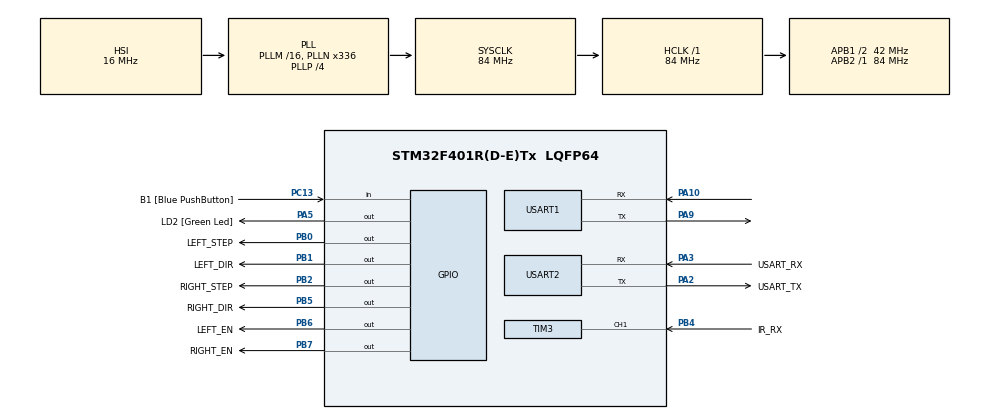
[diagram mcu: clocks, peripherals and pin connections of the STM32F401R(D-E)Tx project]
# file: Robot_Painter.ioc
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Mcu.Family=STM32F4
Mcu.Name=STM32F401R(D-E)Tx
Mcu.Package=LQFP64
NVIC.PriorityGroup=NVIC_PRIORITYGROUP_4
NVIC.TIM2_IRQn=true\:0\:0\:false\:false\:true\:true\:true\:true
NVIC.TIM3_IRQn=true\:6\:0\:false\:false\:true\:true\:true\:true
NVIC.TIM5_IRQn=true\:15\:0\:false\:false\:true\:true\:true\:true
NVIC.USART1_IRQn=true\:6\:0\:false\:false\:true\:true\:true\:true
NVIC.USART2_IRQn=true\:7\:0\:false\:false\:true\:true\:true\:true
PA10.GPIO_PuPd=GPIO_PULLUP
PA10.Mode=Asynchronous
PA10.Signal=USART1_RX
PA13.GPIO_Label=TMS
PA13.Mode=Trace_Asynchronous_SW
PA13.Signal=SYS_JTMS-SWDIO
PA14.GPIO_Label=TCK
PA14.Mode=Trace_Asynchronous_SW
PA14.Signal=SYS_JTCK-SWCLK
PA2.GPIO_Label=USART_TX
PA2.GPIO_Mode=GPIO_MODE_AF_PP
PA2.GPIO_PuPd=GPIO_NOPULL
PA2.GPIO_Speed=GPIO_SPEED_FREQ_LOW
PA2.Mode=Asynchronous
PA2.Signal=USART2_TX
PA3.GPIO_Label=USART_RX
PA3.GPIO_Mode=GPIO_MODE_AF_PP
PA3.GPIO_PuPd=GPIO_NOPULL
PA3.GPIO_Speed=GPIO_SPEED_FREQ_LOW
PA3.Mode=Asynchronous
PA3.Signal=USART2_RX
PA5.GPIO_Label=LD2 [Green Led]
PA5.GPIO_Mode=GPIO_MODE_OUTPUT_PP
PA5.GPIO_PuPd=GPIO_NOPULL
PA5.GPIO_Speed=GPIO_SPEED_FREQ_LOW
PA5.Signal=GPIO_Output
PA8.GPIO_Label=SIG_SERVO
PA8.Signal=S_TIM1_CH1
PA9.Mode=Asynchronous
PA9.Signal=USART1_TX
PB0.GPIO_Label=LEFT_STEP
PB0.GPIO_Mode=GPIO_MODE_OUTPUT_PP
PB0.GPIO_PuPd=GPIO_NOPULL
PB0.GPIO_Speed=GPIO_SPEED_FREQ_HIGH
PB0.Signal=GPIO_Output
PB1.GPIO_Label=LEFT_DIR
PB1.GPIO_Mode=GPIO_MODE_OUTPUT_PP
PB1.GPIO_PuPd=GPIO_NOPULL
PB1.GPIO_Speed=GPIO_SPEED_FREQ_HIGH
PB1.Signal=GPIO_Output
PB2.GPIO_Label=RIGHT_STEP
PB2.GPIO_Mode=GPIO_MODE_OUTPUT_PP
PB2.GPIO_PuPd=GPIO_NOPULL
PB2.GPIO_Speed=GPIO_SPEED_FREQ_HIGH
PB2.Signal=GPIO_Output
PB3.GPIO_Label=SWO
PB3.Mode=Trace_Asynchronous_SW
PB3.Signal=SYS_JTDO-SWO
PB4.GPIO_Label=IR_RX
PB4.GPIO_PuPd=GPIO_PULLUP
PB4.Signal=S_TIM3_CH1
PB5.GPIO_Label=RIGHT_DIR
PB5.GPIO_Mode=GPIO_MODE_OUTPUT_PP
PB5.GPIO_PuPd=GPIO_NOPULL
PB5.GPIO_Speed=GPIO_SPEED_FREQ_HIGH
PB5.Signal=GPIO_Output
PB6.GPIO_Label=LEFT_EN
PB6.GPIO_Mode=GPIO_MODE_OUTPUT_PP
PB6.GPIO_PuPd=GPIO_NOPULL
PB6.GPIO_Speed=GPIO_SPEED_FREQ_HIGH
PB6.PinState=GPIO_PIN_SET
PB6.Signal=GPIO_Output
PB7.GPIO_Label=RIGHT_EN
PB7.GPIO_Mode=GPIO_MODE_OUTPUT_PP
PB7.GPIO_PuPd=GPIO_NOPULL
PB7.GPIO_Speed=GPIO_SPEED_FREQ_HIGH
PB7.PinState=GPIO_PIN_SET
PB7.Signal=GPIO_Output
PC13-ANTI_TAMP.GPIO_Label=B1 [Blue PushButton]
PC13-ANTI_TAMP.GPIO_PuPd=GPIO_NOPULL
PC13-ANTI_TAMP.Signal=GPIO_Input
ProjectManager.HeapSize=0x200
ProjectManager.StackSize=0x400
ProjectManager.TargetToolchain=STM32CubeIDE
RCC.48MHZClocksFreq_Value=48000000
RCC.AHBFreq_Value=84000000
RCC.APB1CLKDivider=RCC_HCLK_DIV2
RCC.APB1Freq_Value=42000000
RCC.APB1TimFreq_Value=84000000
RCC.APB2Freq_Value=84000000
RCC.APB2TimFreq_Value=84000000
RCC.CortexFreq_Value=84000000
RCC.HCLKFreq_Value=84000000
RCC.HSE_VALUE=8000000
RCC.HSI_VALUE=16000000
RCC.PLLN=336
RCC.PLLP=RCC_PLLP_DIV4
RCC.PLLQ=7
RCC.SYSCLKFreq_VALUE=84000000
RCC.SYSCLKSource=RCC_SYSCLKSOURCE_PLLCLK
RCC.VCOOutputFreq_Value=336000000
SH.S_TIM3_CH1.0=TIM3_CH1,PWM_Input
TIM1.Channel-PWM\ Generation1\ CH1=TIM_CHANNEL_1
TIM1.Period=19999
TIM1.Prescaler=83
TIM2.Period=49
TIM2.Prescaler=83
TIM3.Period=65535
TIM3.Prescaler=83
USART1.VirtualMode=VM_ASYNC
USART2.VirtualMode=VM_ASYNC
VP_TIM1_VS_ClockSourceINT.Mode=Internal
VP_TIM2_VS_ClockSourceINT.Mode=Internal
VP_TIM3_VS_ClockSourceINT.Mode=Internal
VP_SYS_VS_tim5.Mode=TIM5
board=NUCLEO-F401RE

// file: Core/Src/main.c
/* USER CODE BEGIN Header */
/**
 ******************************************************************************
 * @file           : main.c
 * @brief          : Main program body
 ******************************************************************************
 * @attention
 *
 * Copyright (c) 2026 STMicroelectronics.
 * All rights reserved.
 *
 * This software is licensed under terms that can be found in the LICENSE file
 * in the root directory of this software component.
 * If no LICENSE file comes with this software, it is provided AS-IS.
 *
 ******************************************************************************
 */
/* USER CODE END Header */
#include "main.h"
#include "gpio.h"
#include "tim.h"
#include "usart.h"

/* USER CODE BEGIN Includes */
#include "FreeRTOS.h"
#include "app_rtos.h"
#include "motor.h"
#include "servo.h"
#include "task.h"
#include "uart_transport.h"
/* USER CODE END Includes */

void SystemClock_Config(void);
/* USER CODE BEGIN PFP */
static HAL_StatusTypeDef Robot_Init(void);
/* USER CODE END PFP */

/* USER CODE BEGIN 0 */
/**
 * @brief 모터, 노즐 및 정적 RTOS application을 안전한 순서로 초기화합니다.
 * @return 모든 모듈이 시작되면 HAL_OK, 하나라도 실패하면 해당 오류입니다.
 */
static HAL_StatusTypeDef Robot_Init(void) {
  HAL_StatusTypeDef status = Servo_Init();
  if (status != HAL_OK) {
    return status;
  }

  status = Motor_Init();
  if (status != HAL_OK) {
    return status;
  }

  status = AppRtos_Init(&huart1);
  if (status != HAL_OK) {
    return status;
  }

  static uint8_t boot_msg[] =
      "=== STM32 Paint Robot Binary Control Ready ===\r\n";
  (void)HAL_UART_Transmit(&huart2, boot_msg, sizeof(boot_msg) - 1U, 100U);
  return HAL_OK;
}
/* USER CODE END 0 */

int main(void) {

  /* MCU Configuration--------------------------------------------------------*/

  /* Reset of all peripherals, Initializes the Flash interface and the Systick.
   */
  HAL_Init();

  /* Configure the system clock */
  SystemClock_Config();

  /* Initialize all configured peripherals */
  MX_GPIO_Init();
  MX_USART2_UART_Init();
  MX_USART1_UART_Init();
  MX_TIM1_Init();
  MX_TIM2_Init();
  MX_TIM3_Init();
  /* USER CODE BEGIN 2 */
  /*
   * 초기화 순서가 중요합니다.
   * 1) GPIO가 먼저 EN=HIGH(드라이버 비활성) 안전 상태를 만듭니다.
   * 2) TIM1 서보 PWM을 OFF 위치에서 시작합니다.
   * 3) TIM2 20 kHz 모터 실시간 interrupt를 시작합니다.
   * 4) TIM3 IR PWM-input을 시작합니다.
   * 5) 정적 task/queue를 만든 뒤 scheduler에서 USART1 수신을 시작합니다.
   */
  /*
   * USART1(PA9 TX/PA10 RX): V-[HW] UART 바이너리 프레임, 115200-8-N-1
   * USART2(PA2 TX/PA3 RX): ST-Link Virtual COM 디버그 출력, 115200-8-N-1
   * TIM3_CH1(PB4): IR 수신기
   */
  if (Robot_Init() != HAL_OK) {
    Error_Handler();
  }
  vTaskStartScheduler();
  Error_Handler();
  /* USER CODE END 2 */

  /* Infinite loop */
  while (1) {

  }
}

void SystemClock_Config(void) {
  RCC_OscInitTypeDef RCC_OscInitStruct = {0};
  RCC_ClkInitTypeDef RCC_ClkInitStruct = {0};

  /** Configure the main internal regulator output voltage
   */
  __HAL_RCC_PWR_CLK_ENABLE();
  __HAL_PWR_VOLTAGESCALING_CONFIG(PWR_REGULATOR_VOLTAGE_SCALE2);

  /** Initializes the RCC Oscillators according to the specified parameters
   * in the RCC_OscInitTypeDef structure.
   */
  RCC_OscInitStruct.OscillatorType = RCC_OSCILLATORTYPE_HSI;
  RCC_OscInitStruct.HSIState = RCC_HSI_ON;
  RCC_OscInitStruct.HSICalibrationValue = RCC_HSICALIBRATION_DEFAULT;
  RCC_OscInitStruct.PLL.PLLState = RCC_PLL_ON;
  RCC_OscInitStruct.PLL.PLLSource = RCC_PLLSOURCE_HSI;
  RCC_OscInitStruct.PLL.PLLM = 16;
  RCC_OscInitStruct.PLL.PLLN = 336;
  RCC_OscInitStruct.PLL.PLLP = RCC_PLLP_DIV4;
  RCC_OscInitStruct.PLL.PLLQ = 7;
  if (HAL_RCC_OscConfig(&RCC_OscInitStruct) != HAL_OK) {
    Error_Handler();
  }

  /** Initializes the CPU, AHB and APB buses clocks
   */
  RCC_ClkInitStruct.ClockType = RCC_CLOCKTYPE_HCLK | RCC_CLOCKTYPE_SYSCLK |
                                RCC_CLOCKTYPE_PCLK1 | RCC_CLOCKTYPE_PCLK2;
  RCC_ClkInitStruct.SYSCLKSource = RCC_SYSCLKSOURCE_PLLCLK;
  RCC_ClkInitStruct.AHBCLKDivider = RCC_SYSCLK_DIV1;
  RCC_ClkInitStruct.APB1CLKDivider = RCC_HCLK_DIV2;
  RCC_ClkInitStruct.APB2CLKDivider = RCC_HCLK_DIV1;

  if (HAL_RCC_ClockConfig(&RCC_ClkInitStruct, FLASH_LATENCY_2) != HAL_OK) {
    Error_Handler();
  }
}

/* USER CODE BEGIN 4 */
/**
 * @brief HAL UART 수신 완료 callback을 UART transport로 전달합니다.
 * @param huart 수신 완료 이벤트를 발생시킨 UART 핸들입니다.
 */
void HAL_UART_RxCpltCallback(UART_HandleTypeDef *huart) {
  UartTransport_RxCpltCallback(huart);
}

/**
 * @brief HAL UART 송신 완료 callback을 UART transport로 전달합니다.
 * @param huart 송신 완료 이벤트를 발생시킨 UART 핸들입니다.
 */
void HAL_UART_TxCpltCallback(UART_HandleTypeDef *huart) {
  UartTransport_TxCpltCallback(huart);
}

/**
 * @brief HAL UART 오류 callback을 UART transport 복구 처리로 전달합니다.
 * @param huart 오류 이벤트를 발생시킨 UART 핸들입니다.
 */
void HAL_UART_ErrorCallback(UART_HandleTypeDef *huart) {
  UartTransport_ErrorCallback(huart);
}
/* USER CODE END 4 */

void Error_Handler(void) {
  /* USER CODE BEGIN Error_Handler_Debug */
  /*
   * Fail-safe: GPIO 초기화 이후 발생한 치명 오류에서는 STEP을 LOW로 만들고
   * 두 DRV8825를 즉시 비활성화(EN=HIGH)한 뒤 정지합니다.
   */
  __disable_irq();
  if (__HAL_RCC_GPIOB_IS_CLK_ENABLED()) {
    Motor_ForceDisable();
  }
  while (1) {
  }
  /* USER CODE END Error_Handler_Debug */
}
#ifdef USE_FULL_ASSERT
/**
 * @brief  Reports the name of the source file and the source line number
 *         where the assert_param error has occurred.
 * @param  file: pointer to the source file name
 * @param  line: assert_param error line source number
 * @retval None
 */
void assert_failed(uint8_t *file, uint32_t line) {
  /* USER CODE BEGIN 6 */
  /* User can add his own implementation to report the file name and line
     number, ex: printf("Wrong parameters value: file %s on line %d\r\n", file,
     line) */
  /* USER CODE END 6 */
}
#endif /* USE_FULL_ASSERT */
